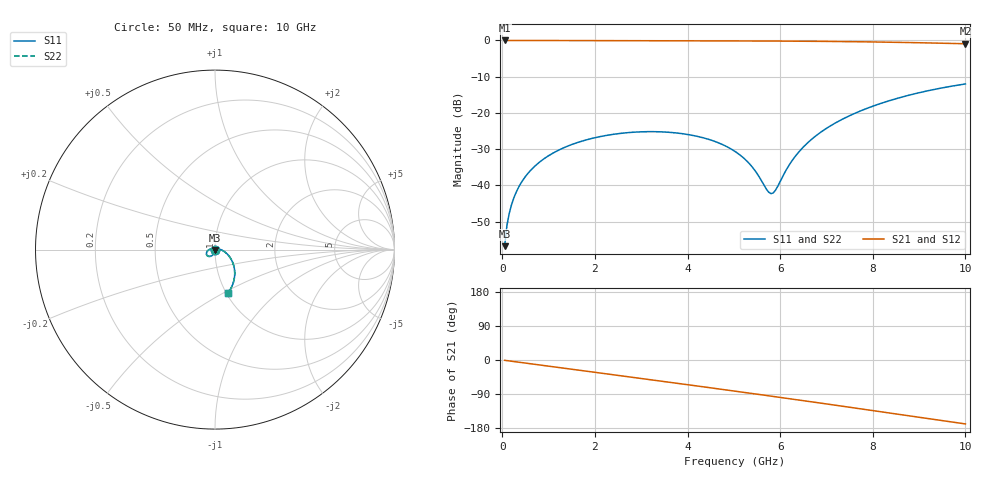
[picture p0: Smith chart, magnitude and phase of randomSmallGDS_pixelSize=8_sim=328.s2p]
! freq	dB(S11)	phase(S11)	dB(S12)	phase(S12)
!  dB(S21)	phase(S21)	dB(S22)	phase(S22)
!S-par simulation data
#  GHz  S  DB  R 50
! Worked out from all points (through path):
!   200 points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, 50 MHz to 10 GHz, reference 50 ohm
!   highest |S21| = 0.00 dB at 50 MHz (marker M1); lowest = -0.9 dB at 10 GHz (marker M2)
!   group delay of S21, straight-line fit = 46.8 ps
!   lowest |S11| = -56.8 dB at 50 MHz (marker M3), VSWR 1.00, Z = 50 - j0.144 ohm
!   |S11| at or under -10 dB: start of sweep to end of sweep
!   |S22| runs from -56.8 to -12.0 dB; largest |S21 - S12| = 0
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0.05  -56.81 -92.9  -0.00 -0.8  -0.00 -0.8  -56.80 -93.0
0.1  -51.10 -94.5  -0.00 -1.6  -0.00 -1.6  -51.10 -94.5
0.2  -45.34 -95.5  -0.00 -3.3  -0.00 -3.3  -45.34 -95.5
0.35  -40.60 -97.4  -0.00 -5.7  -0.00 -5.7  -40.60 -97.4
0.5  -37.57 -99.6  -0.01 -8.2  -0.01 -8.2  -37.57 -99.6
0.7  -34.74 -102.8  -0.01 -11.4  -0.01 -11.4  -34.74 -102.8
1  -31.83 -107.7  -0.02 -16.3  -0.02 -16.3  -31.83 -107.7
1.75  -27.69 -120.3  -0.04 -28.4  -0.04 -28.4  -27.69 -120.3
2.55  -25.67 -133.8  -0.05 -41.4  -0.05 -41.4  -25.67 -133.8
3.4  -25.22 -148.5  -0.07 -55.3  -0.07 -55.3  -25.22 -148.5
4.35  -26.92 -166.6  -0.10 -70.9  -0.10 -70.9  -26.92 -166.6
5.05  -30.85 175.7  -0.12 -82.6  -0.12 -82.6  -30.85 175.7
5.4  -34.99 159.8  -0.14 -88.5  -0.14 -88.5  -34.99 159.7
5.7  -41.00 120.7  -0.15 -93.6  -0.15 -93.6  -40.99 120.7
5.8  -42.30 91.5  -0.16 -95.3  -0.16 -95.3  -42.29 91.5
5.9  -41.35 59.7  -0.16 -97.0  -0.16 -97.0  -41.34 59.8
6.3  -32.44 8.0  -0.19 -103.8  -0.19 -103.8  -32.44 8.1
6.7  -27.07 -7.6  -0.23 -110.7  -0.23 -110.7  -27.07 -7.6
7.4  -21.39 -24.5  -0.31 -122.9  -0.31 -122.9  -21.39 -24.5
8.35  -16.67 -43.2  -0.48 -139.6  -0.48 -139.6  -16.67 -43.2
9.2  -13.86 -58.8  -0.68 -154.6  -0.68 -154.6  -13.87 -58.8
10  -12.01 -72.9  -0.91 -168.7  -0.91 -168.7  -12.02 -72.9
